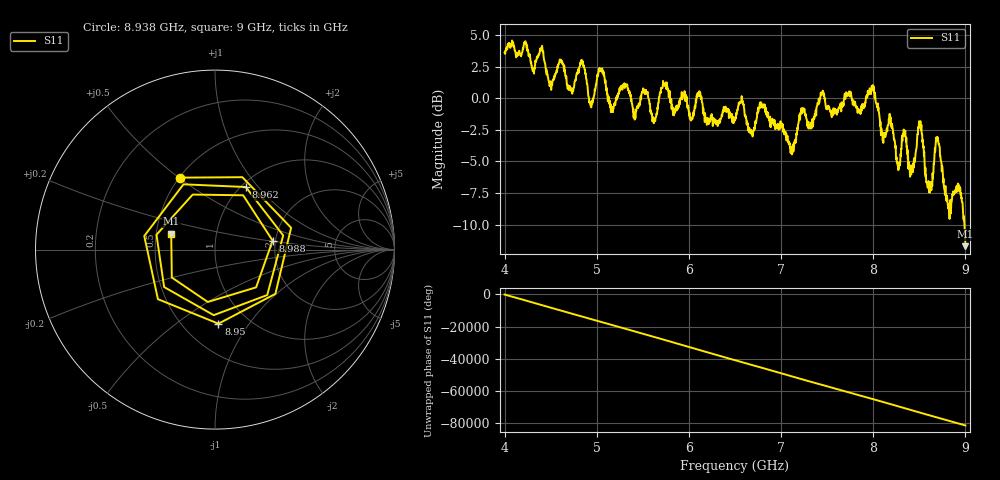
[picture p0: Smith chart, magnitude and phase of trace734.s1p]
! Created with skrf 1.8.0 (http://scikit-rf.org).
# Hz S RI R 50.0
!freq ReS11 ImS11
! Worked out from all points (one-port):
!   1601 points, 4 GHz to 9 GHz, reference 50 ohm
!   lowest |S11| = -11.7 dB at 9 GHz (marker M1), VSWR 1.70, Z = 30 + j5.69 ohm
!   |S11| at or under -10 dB: 8.989854 GHz to end of sweep
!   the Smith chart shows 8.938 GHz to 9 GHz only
!   S11 on the Smith chart (normalised r, x): 8.938 GHz: 0.50, +0.50; 8.95 GHz: 0.73, -0.73; 8.962 GHz: 1.05, +0.86; 8.988 GHz: 1.93, +0.22; 9 GHz: 0.60, +0.11
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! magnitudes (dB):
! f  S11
! 4 GHz  3.6
! 4.4 GHz  3.9
! 4.5 GHz  1.0
! 4.625 GHz  2.9
! 4.719 GHz  0.6
! 4.847 GHz  2.9
! 4.938 GHz  -0.7
! 5.044 GHz  2.2
! 5.159 GHz  -0.7
! 5.25 GHz  0.6
! 5.875 GHz  -0.8
! 6.5 GHz  -1.8
! 6.8 GHz  -0.6
! 7.125 GHz  -3.8
! 7.234 GHz  -1.1
! 7.75 GHz  0.2
! 7.988 GHz  0.9
! 8.106 GHz  -3.0
! 8.375 GHz  -4.8
! 8.506 GHz  -2.2
! 8.6 GHz  -6.6
! 8.697 GHz  -3.1
! 8.819 GHz  -8.5
! 8.938 GHz  -7.0
! 8.95 GHz  -7.7
! 8.962 GHz  -8.2
! 8.988 GHz  -9.8
! 9 GHz  -11.7
